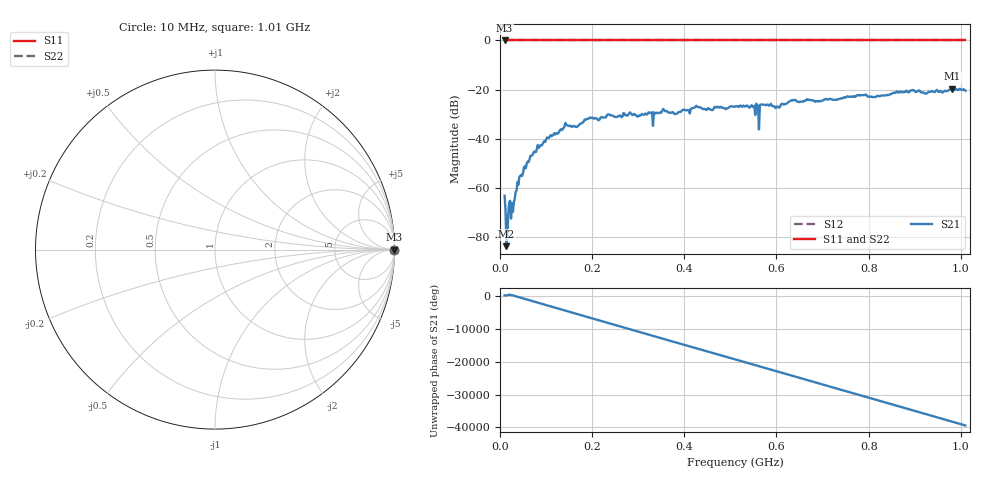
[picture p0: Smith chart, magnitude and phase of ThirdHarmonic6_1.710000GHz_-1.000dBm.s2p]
! 8/16/2025 8:34:14 PM
! C:\ANRITSUVNA\TEMP\TEMP.S2P
! CHANNEL.1
! TR.MEASUREMENT
! RAW.DATA
! RF.CORRECTION.OFF
! AVERAGING.OFF
! IF.BANDWIDTH: 5KHZ
! SWEEPTYPE:  FREQ.SWEEP(Linear)
! Reference Plane Port Info
! PORT:  PORT1  PORT2
! DISTANCE:  0  m  0  m
! TIME:  0  s  0  s
! PHASE.OFFSET:  0  deg.  0  deg.
! LOSS:  0  dB  0  dB
! REF.LOSS:  0  dB  0  dB
! REF.FREQ:  0  Hz  0  Hz
! Power Info
! POWER:  -20  dBm  -20  dBm
! EFF.POWER:  -20  dBm  -20  dBm
! SOURCE.ATTEN:  0  dB  0  dB
! TEST.ATTEN:  0  dB  0  dB
# GHZ S RI R 50.0
! FREQ.GHZ  S11RE  S11IM  S21RE  S21IM  S12RE  S12IM  S22RE  S22IM
!; PortSelection: Port_12
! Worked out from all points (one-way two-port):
!   501 points, 10 MHz to 1.01 GHz, reference 50 ohm
!   highest |S21| = -19.59 dB at 982 MHz (marker M1); lowest = -83.6 dB at 14 MHz (marker M2)
!   lowest |S11| = 0.0 dB at 10 MHz (marker M3)
!   |S11| at or under -10 dB: nowhere
!   |S22| runs from 0.0 to 0.0 dB; largest |S21 - S12| = 1.1
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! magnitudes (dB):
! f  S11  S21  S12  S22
! 10 MHz  0.0  -63.2  0.0  0.0
! 14 MHz  0.0  -83.6  0.0  0.0
! 18 MHz  0.0  -70.5  0.0  0.0
! 22 MHz  0.0  -65.2  0.0  0.0
! 28 MHz  0.0  -69.7  0.0  0.0
! 42 MHz  0.0  -55.6  0.0  0.0
! 70 MHz  0.0  -46.7  0.0  0.0
! 142 MHz  0.0  -33.5  0.0  0.0
! 178 MHz  0.0  -33.5  0.0  0.0
! 236 MHz  0.0  -30.1  0.0  0.0
! 344 MHz  0.0  -29.6  0.0  0.0
! 510 MHz  0.0  -26.9  0.0  0.0
! 556 MHz  0.0  -25.7  0.0  0.0
! 558 MHz  0.0  -26.3  0.0  0.0
! 566 MHz  0.0  -26.0  0.0  0.0
! 568 MHz  0.0  -26.0  0.0  0.0
! 602 MHz  0.0  -26.9  0.0  0.0
! 636 MHz  0.0  -24.4  0.0  0.0
! 678 MHz  0.0  -24.4  0.0  0.0
! 844 MHz  0.0  -22.1  0.0  0.0
! 982 MHz  0.0  -19.6  0.0  0.0
! 1.01 GHz  0.0  -20.4  0.0  0.0
